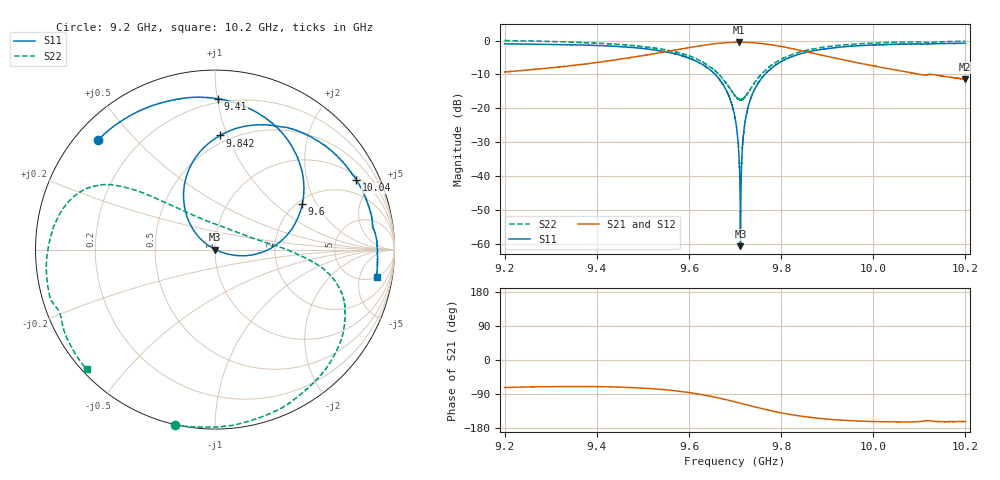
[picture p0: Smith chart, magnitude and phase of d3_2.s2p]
!Agilent Technologies,N5242A,MY51221714,A.09.90.19
!Agilent N5242A: A.09.90.19
!Date: Tuesday, March 26, 2024 16:12:42
!Correction: S11(Full 2 Port(1,2))
!S21(Full 2 Port(1,2))
!S12(Full 2 Port(1,2))
!S22(Full 2 Port(1,2))
!S2P File: Measurements: S11, S21, S12, S22:
# Hz S  dB  R 50
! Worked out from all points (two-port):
!   16001 points, 9.2 GHz to 10.2 GHz, reference 50 ohm
!   highest |S21| = -0.48 dB at 9.709 GHz (marker M1); lowest = -11.4 dB at 10.2 GHz (marker M2)
!   |S21| within 3 dB of the highest: 9.541362 GHz to 9.541435 GHz (73.2 kHz wide, 0.000767 % of centre); 9.541 GHz to 9.861 GHz (319.7 MHz wide, 3.3 % of centre)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
!   lowest |S11| = -60.7 dB at 9.712 GHz (marker M3), VSWR 1.00, Z = 50.1 + j0.0312 ohm
!   |S11| at or under -10 dB: 9.657 GHz to 9.765 GHz (107.9 MHz wide, 1.11 % of centre)
!   |S22| runs from -17.5 to 0.0 dB; largest |S21 - S12| = 0.012
!   S11 on the Smith chart (normalised r, x): 9.2 GHz: 0.07, +0.39; 9.41 GHz: 0.18, +1.01; 9.6 GHz: 2.12, +1.55; 9.842 GHz: 0.44, +0.94; 10.04 GHz: 1.18, +3.97; 10.2 GHz: 5, -9
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9.2e9  -0.98 137.0  -9.26 -72.7  -9.23 -73.4  0.02 -102.9
9.366688e9  -1.32 99.7  -7.06 -70.1  -7.04 -70.7  -0.59 -58.4
9.410125e9  -1.52 88.8  -6.29 -70.4  -6.27 -71.2  -0.84 -47.5
9.533375e9  -2.95 52.7  -3.70 -76.9  -3.67 -77.5  -2.35 -20.5
9.600312e9  -5.21 27.8  -2.08 -86.0  -2.08 -86.6  -4.52 -9.1
9.666812e9  -11.55 -3.1  -0.80 -101.0  -0.79 -101.5  -10.25 6.1
9.687375e9  -16.61 -13.3  -0.57 -106.7  -0.57 -107.3  -13.84 20.4
9.7e9  -22.71 -19.7  -0.51 -110.6  -0.50 -111.1  -16.24 40.1
9.704875e9  -27.35 -21.2  -0.51 -112.1  -0.48 -112.6  -16.97 50.9
9.708562e9  -33.66 -20.7  -0.48 -113.2  -0.47 -113.7  -17.31 60.2
9.711812e9  -60.69 19.7  -0.49 -114.2  -0.48 -114.7  -17.51 68.8
9.715e9  -34.38 147.9  -0.49 -115.2  -0.48 -115.7  -17.38 77.2
9.718938e9  -26.94 147.6  -0.50 -116.4  -0.49 -116.9  -17.09 87.2
9.723938e9  -22.42 145.6  -0.52 -118.0  -0.51 -118.5  -16.25 98.9
9.743625e9  -14.09 134.4  -0.67 -124.0  -0.66 -124.5  -12.23 125.2
9.783375e9  -7.72 114.0  -1.34 -135.2  -1.34 -135.8  -6.88 139.8
9.841875e9  -3.92 87.4  -2.90 -147.9  -2.90 -148.4  -3.33 148.0
9.866688e9  -3.11 77.7  -3.65 -151.9  -3.66 -152.4  -2.56 151.2
1.003338e10  -1.16 27.5  -8.30 -163.1  -8.29 -163.7  -0.56 -177.6
1.003869e10  -1.14 26.2  -8.41 -163.1  -8.41 -163.7  -0.53 -176.3
1.019981e10  -0.79 -9.4  -11.42 -162.3  -11.41 -162.8  -0.20 -137.2
1.02e10  -0.80 -9.5  -11.42 -162.3  -11.42 -162.8  -0.20 -137.1
